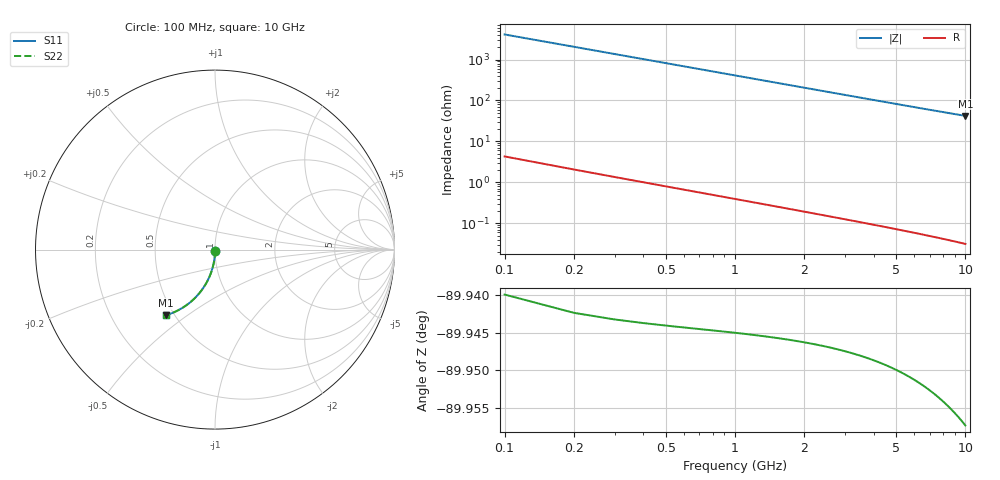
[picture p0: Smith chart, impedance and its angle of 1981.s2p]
# Hz S RI R 50.00
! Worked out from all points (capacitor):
!   100 points, 100 MHz to 10 GHz, reference 50 ohm
!   read as one part in shunt: C = 389 fF near 100 MHz
!   lowest |Z| = 42.1 ohm at 10 GHz (marker M1)
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1e8  0.000352 -0.00528  0.9996 -0.00693  0.9996 -0.00693  0.000352 -0.00528
2e8  0.000239 -0.0106  0.9994 -0.0139  0.9994 -0.0139  0.000239 -0.0106
3e8  5.18e-05 -0.0158  0.9992 -0.0208  0.9992 -0.0208  5.18e-05 -0.0158
4e8  -0.000208 -0.0211  0.999 -0.0277  0.999 -0.0277  -0.000208 -0.0211
5e8  -0.000542 -0.0264  0.9986 -0.0346  0.9986 -0.0346  -0.000542 -0.0264
6e8  -0.000948 -0.0316  0.9982 -0.0415  0.9982 -0.0415  -0.000948 -0.0316
7e8  -0.00143 -0.0369  0.9977 -0.0484  0.9977 -0.0484  -0.00143 -0.0369
8e8  -0.00198 -0.0421  0.9971 -0.0553  0.9971 -0.0553  -0.00198 -0.0421
9e8  -0.0026 -0.0474  0.9965 -0.0622  0.9965 -0.0622  -0.0026 -0.0474
1.1e9  -0.00407 -0.0578  0.995 -0.0759  0.995 -0.0759  -0.00407 -0.0578
1.4e9  -0.0068 -0.0734  0.9921 -0.0964  0.9921 -0.0964  -0.0068 -0.0734
1.8e9  -0.0114 -0.0938  0.9873 -0.1235  0.9873 -0.1235  -0.0114 -0.0938
2.1e9  -0.0156 -0.109  0.9829 -0.1436  0.9829 -0.1436  -0.0156 -0.109
2.5e9  -0.0221 -0.1288  0.9762 -0.17  0.9762 -0.17  -0.0221 -0.1288
2.9e9  -0.0297 -0.1481  0.9683 -0.1959  0.9683 -0.1959  -0.0297 -0.1481
3.4e9  -0.0405 -0.1715  0.957 -0.2276  0.957 -0.2276  -0.0405 -0.1715
4.2e9  -0.0608 -0.2068  0.9359 -0.2762  0.9359 -0.2762  -0.0608 -0.2068
5.1e9  -0.0875 -0.2431  0.908 -0.3275  0.908 -0.3275  -0.0875 -0.2431
5.9e9  -0.1141 -0.272  0.8802 -0.3697  0.8802 -0.3697  -0.1141 -0.272
6.7e9  -0.1429 -0.2974  0.85 -0.4086  0.85 -0.4086  -0.1429 -0.2974
8.4e9  -0.2088 -0.3398  0.7804 -0.4797  0.7804 -0.4797  -0.2088 -0.3398
1e10  -0.2736 -0.3654  0.7113 -0.5327  0.7113 -0.5327  -0.2736 -0.3654
